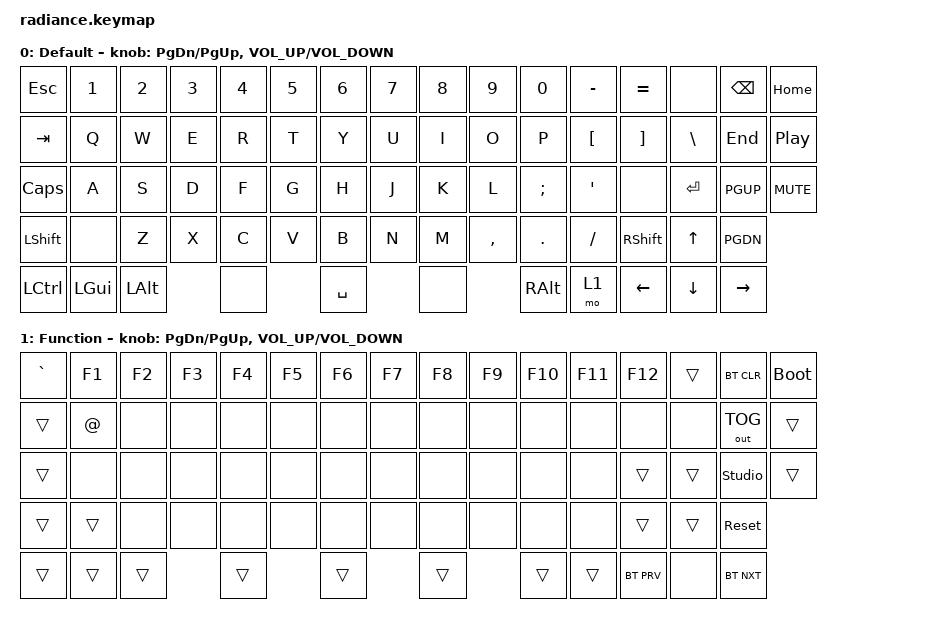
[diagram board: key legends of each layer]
#include <behaviors.dtsi>
#include <dt-bindings/zmk/keys.h>
#include <dt-bindings/zmk/bt.h>
#include <dt-bindings/zmk/outputs.h>

/ {
    sensors: sensors {
        compatible = "zmk,keymap-sensors";
        sensors = <&encoder_1 &encoder_2>;
        triggers-per-rotation = <20>;   
    };
 
    default_layer {
        compatible = "zmk,keymap";

        0 {
            display-name = "Default";

            sensor-bindings = <&inc_dec_kp PAGE_DOWN PAGE_UP &inc_dec_kp C_VOLUME_UP C_VOLUME_DOWN>;

            bindings = <
            &kp ESC   &kp N1    &kp N2    &kp N3    &kp N4    &kp N5    &kp N6    &kp N7    &kp N8  &kp N9    &kp N0    &kp MINUS &kp EQUAL &none    &kp BSPC    &kp HOME 
            &kp TAB   &kp Q     &kp W     &kp E     &kp R     &kp T     &kp Y     &kp U     &kp I   &kp O     &kp P     &kp LBKT  &kp RBKT  &kp BSLH &kp END     &kp C_PLAY_PAUSE
            &kp CAPS  &kp A     &kp S     &kp D     &kp F     &kp G     &kp H     &kp J     &kp K   &kp L     &kp SEMI  &kp SQT   &none     &kp RET  &kp PGUP    &kp C_MUTE
            &kp LSHFT &none     &kp Z     &kp X     &kp C     &kp V     &kp B     &kp N     &kp M   &kp COMMA &kp DOT   &kp FSLH  &kp RSHFT &kp UP   &kp PGDN
            &kp LCTRL &kp LGUI  &kp LALT            &none               &kp SPACE           &none               &kp RALT  &mo 1     &kp LEFT  &kp DOWN &kp RIGHT
            >;
        };

        fn_layer {
            display-name = "Function";

            sensor-bindings = <&inc_dec_kp PAGE_DOWN PAGE_UP &inc_dec_kp C_VOLUME_UP C_VOLUME_DOWN>;

            bindings = <
            &kp GRAVE &kp F1    &kp F2    &kp F3    &kp F4    &kp F5    &kp F6    &kp F7    &kp F8  &kp F9    &kp F10   &kp F11   &kp F12   &trans   &bt BT_CLR  &bootloader
            &trans    &kp AT    &none     &none     &none     &none     &none     &none     &none   &none     &none     &none     &none     &none    &out OUT_TOG &trans
            &trans    &none     &none     &none     &none     &none     &none     &none     &none   &none     &none     &none     &trans    &trans   &studio_unlock &trans
            &trans    &trans    &none     &none     &none     &none     &none     &none     &none   &none     &none     &none     &trans    &trans   &sys_reset
            &trans    &trans    &trans              &trans              &trans              &trans            &trans    &trans    &bt BT_PRV &none   &bt BT_NXT
            >;
        };
    };
};
